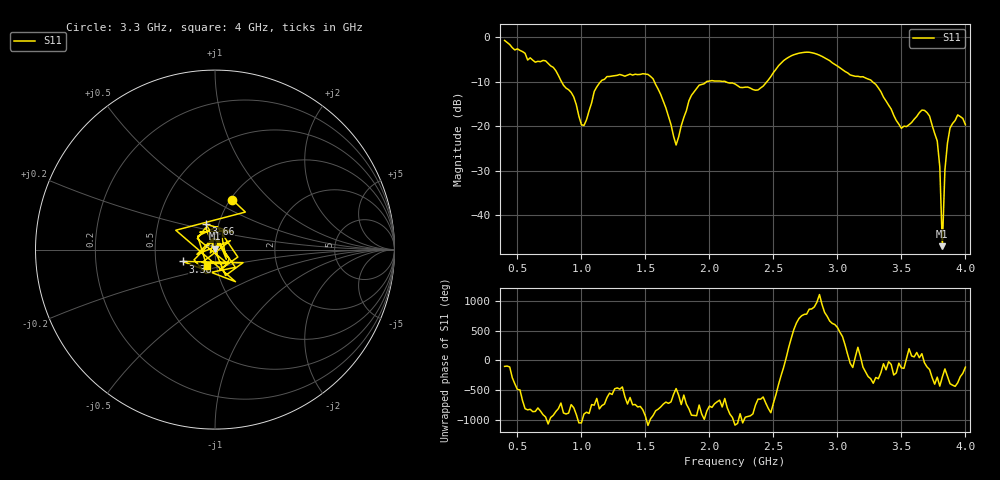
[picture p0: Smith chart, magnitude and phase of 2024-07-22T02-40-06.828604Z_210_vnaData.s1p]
!Created with skrf (http://scikit-rf.org).
# Hz S RI R 50.0
!freq ReS11 ImS11
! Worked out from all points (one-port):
!   181 points, 400 MHz to 4 GHz, reference 50 ohm
!   lowest |S11| = -46.9 dB at 3.82 GHz (marker M1), VSWR 1.01, Z = 50.1 + j0.447 ohm
!   |S11| at or under -10 dB: 1.57 GHz to 1.978 GHz (408.5 MHz wide, 23 % of centre); 2.125 GHz to 2.45 GHz (324.2 MHz wide, 14.2 % of centre); 3.273 GHz to end of sweep (the widest 3 of 4)
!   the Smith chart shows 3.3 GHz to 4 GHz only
!   S11 on the Smith chart (normalised r, x): 3.3 GHz: 1.02, +0.62; 3.38 GHz: 0.69, -0.09; 3.66 GHz: 0.87, +0.25; 4 GHz: 0.90, -0.17
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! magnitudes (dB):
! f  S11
! 400 MHz  -0.8
! 720 MHz  -5.3
! 860 MHz  -10.8
! 1.02 GHz  -19.8
! 1.14 GHz  -10.4
! 1.3 GHz  -8.4
! 1.56 GHz  -9.4
! 1.74 GHz  -24.2
! 1.76 GHz  -22.4
! 1.84 GHz  -14.3
! 1.92 GHz  -10.8
! 2.2 GHz  -10.5
! 2.38 GHz  -11.9
! 2.66 GHz  -4.0
! 3.1 GHz  -8.5
! 3.3 GHz  -10.6
! 3.38 GHz  -14.3
! 3.5 GHz  -20.5
! 3.56 GHz  -19.7
! 3.66 GHz  -16.4
! 3.72 GHz  -17.7
! 3.78 GHz  -23.3
! 3.8 GHz  -29.1
! 3.82 GHz  -46.9
! 3.84 GHz  -29.8
! 3.88 GHz  -20.4
! 3.94 GHz  -17.5
! 4 GHz  -19.7
